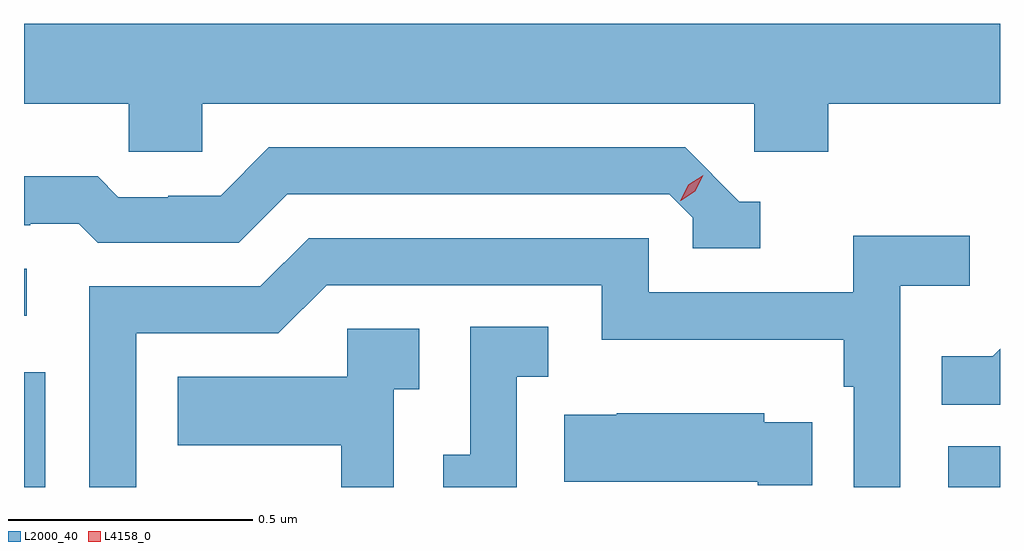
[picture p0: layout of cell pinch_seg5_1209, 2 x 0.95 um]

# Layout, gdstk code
import gdstk
lib = gdstk.Library(unit=1e-6, precision=1e-09)
def R(c, l, rs):  # rectangles x0, y0, x1, y1
    for r in rs: c.add(gdstk.rectangle(r[:2], r[2:], *l))
def P(c, l, *ps):  # polygons
    for p in ps: c.add(gdstk.Polygon(p, *l))
L2000_40 = (2000, 40)
L4158_0 = (4158, 0)

pinch_seg5_1209 = lib.new_cell('pinch_seg5_1209')
R(pinch_seg5_1209, L2000_40, [(833.668,849.315,833.712,849.55), (835.562,849.315,835.668,849.399), (833.668,849.666,833.674,849.762)])
P(pinch_seg5_1209, L2000_40, [(834.033,850.1),(835.164,850.1),(835.164,850.002),(835.316,850.002),(835.316,850.1),(835.668,850.1),(835.668,850.264),(833.668,850.264),(833.668,850.1),(833.883,850.1),(833.883,850.002),(834.033,850.002)],
  [(835.177,849.9),(835.134,849.9),(835.023,850.011),(834.17,850.011),(834.071,849.912),(833.964,849.912),(833.964,849.909),(833.861,849.909),(833.819,849.952),(833.668,849.952),(833.668,849.852),(833.681,849.852),(833.681,849.855),(833.78,849.855),(833.819,849.816),(834.108,849.816),(834.207,849.915),(834.99,849.915),(835.038,849.867),(835.038,849.804),(835.177,849.804)],
  [(833.898,849.63),(834.189,849.63),(834.288,849.729),(834.852,849.729),(834.852,849.617),(835.348,849.617),(835.348,849.521),(835.368,849.521),(835.368,849.315),(835.464,849.315),(835.464,849.728),(835.606,849.728),(835.606,849.83),(835.367,849.83),(835.367,849.714),(834.948,849.714),(834.948,849.825),(834.251,849.825),(834.152,849.726),(833.802,849.726),(833.802,849.315),(833.898,849.315)],
  [(834.678,849.541),(834.742,849.541),(834.742,849.644),(834.582,849.644),(834.582,849.381),(834.527,849.381),(834.527,849.315),(834.678,849.315)],
  [(834.426,849.515),(834.478,849.515),(834.478,849.639),(834.33,849.639),(834.33,849.541),(833.983,849.541),(833.983,849.401),(834.318,849.401),(834.318,849.315),(834.426,849.315)],
  [(835.668,849.598),(835.653,849.583),(835.549,849.583),(835.549,849.484),(835.668,849.484)],
  [(835.283,849.448),(835.185,849.448),(835.185,849.466),(834.883,849.466),(834.883,849.463),(834.775,849.463),(834.775,849.326),(835.172,849.326),(835.172,849.319),(835.283,849.319)])
P(pinch_seg5_1209, L4158_0, [(835.013,849.902),(835.013,849.902),(835.029,849.934),(835.06,849.954),(835.06,849.954),(835.06,849.954),(835.044,849.921),(835.014,849.902)])

lib.write_gds('pinch_seg5_1209.gds')
